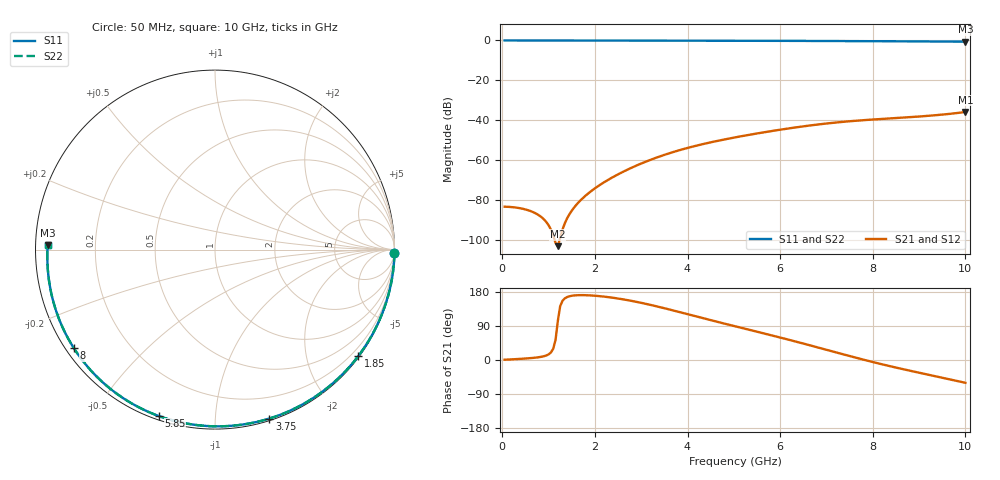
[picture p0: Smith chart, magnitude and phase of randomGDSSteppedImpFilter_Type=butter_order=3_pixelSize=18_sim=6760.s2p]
! freq	dB(S11)	phase(S11)	dB(S12)	phase(S12)
!  dB(S21)	phase(S21)	dB(S22)	phase(S22)
!S-par simulation data
#  GHz  S  DB  R 50
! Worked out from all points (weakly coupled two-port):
!   200 points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, 50 MHz to 10 GHz, reference 50 ohm
!   highest |S21| = -35.93 dB at 10 GHz (marker M1); lowest = -103.3 dB at 1.2 GHz (marker M2)
!   lowest |S11| = -0.6 dB at 10 GHz (marker M3), VSWR 28.56, Z = 1.75 + j0.701 ohm
!   |S11| at or under -10 dB: nowhere
!   |S22| runs from -0.6 to 0.0 dB; largest |S21 - S12| = 0
!   S11 on the Smith chart (normalised r, x): 50 MHz: open; 1.85 GHz: 0.03, -3.02; 3.75 GHz: 0.02, -1.37; 5.85 GHz: 0.02, -0.72; 8 GHz: 0.02, -0.31; 10 GHz: 0.04, +0.01
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0.05  -0.00 -1.0  -83.44 0.8  -83.44 0.8  -0.00 -1.0
0.6  -0.01 -12.0  -85.55 4.8  -85.55 4.8  -0.01 -12.0
1.2  -0.03 -23.9  -103.26 103.6  -103.26 103.6  -0.03 -23.9
1.7  -0.04 -33.7  -80.00 171.2  -80.00 171.2  -0.04 -33.7
1.75  -0.04 -34.7  -78.90 171.2  -78.90 171.2  -0.04 -34.7
1.85  -0.05 -36.6  -76.89 170.8  -76.89 170.8  -0.05 -36.6
2  -0.05 -39.5  -74.23 169.6  -74.23 169.6  -0.05 -39.5
2.15  -0.05 -42.4  -71.88 167.9  -71.88 167.9  -0.05 -42.4
2.5  -0.06 -49.0  -67.20 162.3  -67.20 162.3  -0.06 -49.0
2.95  -0.07 -57.5  -62.26 152.2  -62.26 152.2  -0.07 -57.5
3.4  -0.09 -65.8  -58.22 139.7  -58.22 139.7  -0.09 -65.8
3.75  -0.10 -72.1  -55.59 128.9  -55.59 128.9  -0.10 -72.1
4.35  -0.12 -82.8  -51.92 109.9  -51.92 109.9  -0.12 -82.8
5.05  -0.15 -95.0  -48.55 88.3  -48.55 88.3  -0.15 -95.0
5.85  -0.19 -108.7  -45.34 64.0  -45.34 64.0  -0.19 -108.7
6.7  -0.24 -123.0  -42.51 36.9  -42.51 36.9  -0.24 -123.0
7.35  -0.30 -134.0  -40.86 15.4  -40.86 15.4  -0.30 -134.0
8  -0.36 -145.1  -39.68 -5.4  -39.68 -5.4  -0.36 -145.1
8.35  -0.40 -151.1  -39.16 -15.7  -39.16 -15.7  -0.40 -151.1
9.2  -0.51 -166.3  -37.83 -38.6  -37.83 -38.6  -0.51 -166.4
9.6  -0.56 -173.8  -36.99 -49.0  -36.99 -49.0  -0.56 -173.8
10  -0.61 178.4  -35.93 -60.2  -35.93 -60.2  -0.61 178.4
